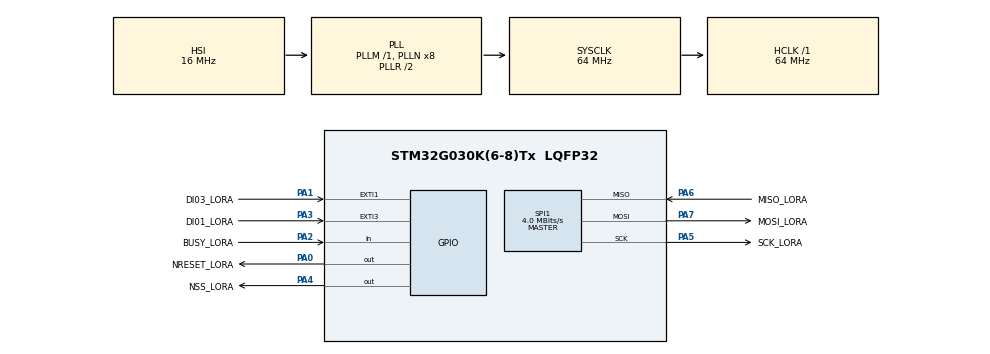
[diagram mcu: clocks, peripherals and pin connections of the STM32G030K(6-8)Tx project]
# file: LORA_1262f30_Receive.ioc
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Mcu.Family=STM32G0
Mcu.Name=STM32G030K(6-8)Tx
Mcu.Package=LQFP32
NVIC.EXTI0_1_IRQn=true\:0\:0\:false\:false\:true\:true\:true\:true
NVIC.EXTI2_3_IRQn=true\:0\:0\:false\:false\:true\:true\:true\:true
NVIC.SPI1_IRQn=true\:0\:0\:false\:false\:true\:true\:true\:true
PA0.GPIO_Label=NRESET_LORA
PA0.PinState=GPIO_PIN_SET
PA0.Signal=GPIO_Output
PA1.GPIO_Label=DI03_LORA
PA1.GPIO_ModeDefaultEXTI=GPIO_MODE_IT_RISING
PA1.GPIO_PuPd=GPIO_PULLDOWN
PA1.Signal=GPXTI1
PA2.GPIO_Label=BUSY_LORA
PA2.GPIO_PuPd=GPIO_PULLDOWN
PA2.Signal=GPIO_Input
PA3.GPIO_Label=DI01_LORA
PA3.GPIO_ModeDefaultEXTI=GPIO_MODE_IT_RISING
PA3.GPIO_PuPd=GPIO_PULLDOWN
PA3.Signal=GPXTI3
PA4.GPIO_Label=NSS_LORA
PA4.PinState=GPIO_PIN_SET
PA4.Signal=GPIO_Output
PA5.GPIO_Label=SCK_LORA
PA5.Mode=Full_Duplex_Master
PA5.Signal=SPI1_SCK
PA6.GPIO_Label=MISO_LORA
PA6.Mode=Full_Duplex_Master
PA6.Signal=SPI1_MISO
PA7.GPIO_Label=MOSI_LORA
PA7.Mode=Full_Duplex_Master
PA7.Signal=SPI1_MOSI
PC14-OSC32_IN\ (PC14).Mode=LSE-External-Oscillator
PC14-OSC32_IN\ (PC14).Signal=RCC_OSC32_IN
PC15-OSC32_OUT\ (PC15).Mode=LSE-External-Oscillator
PC15-OSC32_OUT\ (PC15).Signal=RCC_OSC32_OUT
ProjectManager.HeapSize=0x200
ProjectManager.StackSize=0x400
ProjectManager.TargetToolchain=MDK-ARM V5.32
RCC.ADCFreq_Value=64000000
RCC.AHBFreq_Value=64000000
RCC.CortexFreq_Value=64000000
RCC.EXTERNAL_CLOCK_VALUE=12288000
RCC.HCLKFreq_Value=64000000
RCC.HSE_VALUE=8000000
RCC.HSI_VALUE=16000000
RCC.SYSCLKFreq_VALUE=64000000
RCC.SYSCLKSource=RCC_SYSCLKSOURCE_PLLCLK
RCC.VCOOutputFreq_Value=128000000
SPI1.BaudRatePrescaler=SPI_BAUDRATEPRESCALER_16
SPI1.CalculateBaudRate=4.0 MBits/s
SPI1.Direction=SPI_DIRECTION_2LINES
SPI1.Mode=SPI_MODE_MASTER
SPI1.VirtualType=VM_MASTER
board=custom

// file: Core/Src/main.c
/* USER CODE BEGIN Header */
/**
  ******************************************************************************
  * @file           : main.c
  * @brief          : Main program body
  ******************************************************************************
  * @attention
  *
  * Copyright (c) 2025 STMicroelectronics.
  * All rights reserved.
  *
  * This software is licensed under terms that can be found in the LICENSE file
  * in the root directory of this software component.
  * If no LICENSE file comes with this software, it is provided AS-IS.
  *
  ******************************************************************************
  */
/* USER CODE END Header */
#include "main.h"

/* USER CODE BEGIN Includes */
#include "SX1262.h"
//#include "SX1262_Definitions.h"
/* USER CODE END Includes */

/* USER CODE BEGIN PTD */
#define Mode_Transmit		0
#define Mode_Receive		1
/* USER CODE END PTD */

SPI_HandleTypeDef hspi1;

/* USER CODE BEGIN PV */
uint8_t recbuf[200];
uint8_t Len=0;
HAL_StatusTypeDef err;
volatile uint8_t Rec_int_flg;
uint8_t counter = 0;
/* USER CODE END PV */

void SystemClock_Config(void);
static void MX_GPIO_Init(void);
static void MX_SPI1_Init(void);

int main(void)
{

  /* MCU Configuration--------------------------------------------------------*/

  /* Reset of all peripherals, Initializes the Flash interface and the Systick. */
  HAL_Init();

  /* Configure the system clock */
  SystemClock_Config();

  /* Initialize all configured peripherals */
  MX_GPIO_Init();
  MX_SPI1_Init();
  /* USER CODE BEGIN 2 */

	SX1262_Get_st()->Busy_Pin = BUSY_LORA_Pin;
	SX1262_Get_st()->Busy_Port= BUSY_LORA_GPIO_Port;
	SX1262_Get_st()->NSS_Pin = NSS_LORA_Pin;
	SX1262_Get_st()->NSS_Port = NSS_LORA_GPIO_Port;
	SX1262_Get_st()->Reset_Pin = NRESET_LORA_Pin;
	SX1262_Get_st()->Reset_Port = NRESET_LORA_GPIO_Port;

	SX1262_Get_st()->SPI = hspi1;

	SX1262_Init();
  //if receive
if(Mode_Receive == 1)
		{
			SX1262_setModeReceive();
		}

  /* USER CODE END 2 */

  /* Infinite loop */
  while (1)
  {

    /* USER CODE BEGIN 3 */
		if(Mode_Transmit == 1)
		{
			SX1262_Transmit((uint8_t*)"salaMMMM", 4);
		}
//		if(Mode_Receive == 1)
//		{
//
//		}
		if(Rec_int_flg)
		{
			Rec_int_flg = 0;
			SX1262_HandleCallback(recbuf+counter,&Len);
			SX1262_setModeReceive();
			counter+=4;
		}
		if(Mode_Transmit == 1)
		{
			HAL_Delay(1000);
		}
  }
  /* USER CODE END 3 */
}

void SystemClock_Config(void)
{
  RCC_OscInitTypeDef RCC_OscInitStruct = {0};
  RCC_ClkInitTypeDef RCC_ClkInitStruct = {0};

  /** Configure the main internal regulator output voltage
  */
  HAL_PWREx_ControlVoltageScaling(PWR_REGULATOR_VOLTAGE_SCALE1);

  /** Initializes the RCC Oscillators according to the specified parameters
  * in the RCC_OscInitTypeDef structure.
  */
  RCC_OscInitStruct.OscillatorType = RCC_OSCILLATORTYPE_HSI;
  RCC_OscInitStruct.HSIState = RCC_HSI_ON;
  RCC_OscInitStruct.HSIDiv = RCC_HSI_DIV1;
  RCC_OscInitStruct.HSICalibrationValue = RCC_HSICALIBRATION_DEFAULT;
  RCC_OscInitStruct.PLL.PLLState = RCC_PLL_ON;
  RCC_OscInitStruct.PLL.PLLSource = RCC_PLLSOURCE_HSI;
  RCC_OscInitStruct.PLL.PLLM = RCC_PLLM_DIV1;
  RCC_OscInitStruct.PLL.PLLN = 8;
  RCC_OscInitStruct.PLL.PLLP = RCC_PLLP_DIV2;
  RCC_OscInitStruct.PLL.PLLR = RCC_PLLR_DIV2;
  if (HAL_RCC_OscConfig(&RCC_OscInitStruct) != HAL_OK)
  {
    Error_Handler();
  }

  /** Initializes the CPU, AHB and APB buses clocks
  */
  RCC_ClkInitStruct.ClockType = RCC_CLOCKTYPE_HCLK|RCC_CLOCKTYPE_SYSCLK
                              |RCC_CLOCKTYPE_PCLK1;
  RCC_ClkInitStruct.SYSCLKSource = RCC_SYSCLKSOURCE_PLLCLK;
  RCC_ClkInitStruct.AHBCLKDivider = RCC_SYSCLK_DIV1;
  RCC_ClkInitStruct.APB1CLKDivider = RCC_HCLK_DIV1;

  if (HAL_RCC_ClockConfig(&RCC_ClkInitStruct, FLASH_LATENCY_2) != HAL_OK)
  {
    Error_Handler();
  }
}

static void MX_SPI1_Init(void)
{

  /* SPI1 parameter configuration*/
  hspi1.Instance = SPI1;
  hspi1.Init.Mode = SPI_MODE_MASTER;
  hspi1.Init.Direction = SPI_DIRECTION_2LINES;
  hspi1.Init.DataSize = SPI_DATASIZE_8BIT;
  hspi1.Init.CLKPolarity = SPI_POLARITY_LOW;
  hspi1.Init.CLKPhase = SPI_PHASE_1EDGE;
  hspi1.Init.NSS = SPI_NSS_SOFT;
  hspi1.Init.BaudRatePrescaler = SPI_BAUDRATEPRESCALER_16;
  hspi1.Init.FirstBit = SPI_FIRSTBIT_MSB;
  hspi1.Init.TIMode = SPI_TIMODE_DISABLE;
  hspi1.Init.CRCCalculation = SPI_CRCCALCULATION_DISABLE;
  hspi1.Init.CRCPolynomial = 7;
  hspi1.Init.CRCLength = SPI_CRC_LENGTH_DATASIZE;
  hspi1.Init.NSSPMode = SPI_NSS_PULSE_ENABLE;
  if (HAL_SPI_Init(&hspi1) != HAL_OK)
  {
    Error_Handler();
  }

}

static void MX_GPIO_Init(void)
{
  GPIO_InitTypeDef GPIO_InitStruct = {0};

  /* GPIO Ports Clock Enable */
  __HAL_RCC_GPIOC_CLK_ENABLE();
  __HAL_RCC_GPIOA_CLK_ENABLE();

  /*Configure GPIO pin Output Level */
  HAL_GPIO_WritePin(GPIOA, NRESET_LORA_Pin|NSS_LORA_Pin, GPIO_PIN_SET);

  /*Configure GPIO pins : NRESET_LORA_Pin NSS_LORA_Pin */
  GPIO_InitStruct.Pin = NRESET_LORA_Pin|NSS_LORA_Pin;
  GPIO_InitStruct.Mode = GPIO_MODE_OUTPUT_PP;
  GPIO_InitStruct.Pull = GPIO_NOPULL;
  GPIO_InitStruct.Speed = GPIO_SPEED_FREQ_LOW;
  HAL_GPIO_Init(GPIOA, &GPIO_InitStruct);

  /*Configure GPIO pins : DI03_LORA_Pin DI01_LORA_Pin */
  GPIO_InitStruct.Pin = DI03_LORA_Pin|DI01_LORA_Pin;
  GPIO_InitStruct.Mode = GPIO_MODE_IT_RISING;
  GPIO_InitStruct.Pull = GPIO_PULLDOWN;
  HAL_GPIO_Init(GPIOA, &GPIO_InitStruct);

  /*Configure GPIO pin : BUSY_LORA_Pin */
  GPIO_InitStruct.Pin = BUSY_LORA_Pin;
  GPIO_InitStruct.Mode = GPIO_MODE_INPUT;
  GPIO_InitStruct.Pull = GPIO_PULLDOWN;
  HAL_GPIO_Init(BUSY_LORA_GPIO_Port, &GPIO_InitStruct);

  /* EXTI interrupt init*/
  HAL_NVIC_SetPriority(EXTI0_1_IRQn, 0, 0);
  HAL_NVIC_EnableIRQ(EXTI0_1_IRQn);

  HAL_NVIC_SetPriority(EXTI2_3_IRQn, 0, 0);
  HAL_NVIC_EnableIRQ(EXTI2_3_IRQn);

}

/* USER CODE BEGIN 4 */
void HAL_SPI_TxRxCpltCallback(SPI_HandleTypeDef *hspi)
{
	HAL_SPI_Receive_IT(&hspi1,(uint8_t *)recbuf,5);
}
/* USER CODE END 4 */

void Error_Handler(void)
{
  __disable_irq();
  while (1)
  {
  }
}
